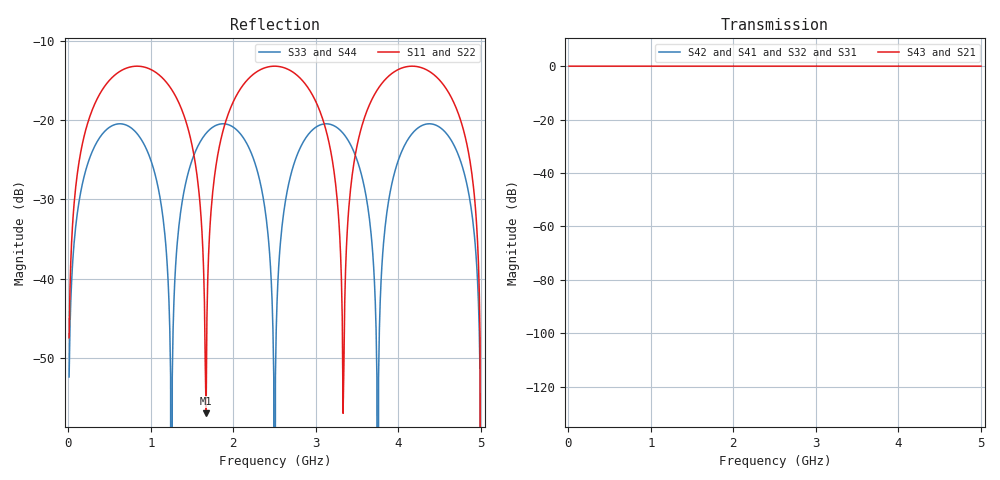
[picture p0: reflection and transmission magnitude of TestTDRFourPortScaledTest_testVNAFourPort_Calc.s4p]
# MHz MA S R 50.0
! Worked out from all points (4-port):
!   500 points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, 10 MHz to 5 GHz, reference 50 ohm
!   strongest paths, dB at 10 MHz, 1.26 GHz, 2.51 GHz, 3.76 GHz, 5 GHz:
!     S43: 0.0, 0.0, 0.0, 0.0, 0.0
!     S21: 0.0, -0.1, -0.2, -0.1, 0.0
!     S42: -, -, -, -, -
!     S41: -, -, -, -, -
!     S32: -, -, -, -, -
!     S31: -, -, -, -, -
!   lowest |S11| = -57.0 dB at 1.67 GHz (marker M1), VSWR 1.00, Z = 50 - j0.141 ohm
!   |S11| at or under -10 dB: start of sweep to end of sweep
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10  0.004241 -91.1  1 -1.1  0 0.0  0 0.0
    1 -1.1  0.004241 -91.1  0 0.0  0 0.0
    0 0.0  0 0.0  0.002399 88.6  1 -1.4
    0 0.0  0 0.0  1 -1.4  0.002399 88.6
1670  0.001414 -90.4  1 179.6  0 0.0  0 0.0
      1 179.6  0.001414 -90.4  0 0.0  0 0.0
      0 0.0  0 0.0  0.08278 29.4  0.9966 119.4
      0 0.0  0 0.0  0.9966 119.4  0.08278 29.4
2500  0.2195 -180.0  0.9756 90.0  0 0.0  0 0.0
      0.9756 90.0  0.2195 -180.0  0 0.0  0 0.0
      0 0.0  0 0.0  0 180.0  1 0.0
      0 0.0  0 0.0  1 0.0  0 180.0
3130  0.08385 112.5  0.9965 22.5  0 0.0  0 0.0
      0.9965 22.5  0.08385 112.5  0 0.0  0 0.0
      0 0.0  0 0.0  0.09502 -0.7  0.9955 -90.7
      0 0.0  0 0.0  0.9955 -90.7  0.09502 -0.7
3750  0.1571 -135.7  0.9876 -45.7  0 0.0  0 0.0
      0.9876 -45.7  0.1571 -135.7  0 0.0  0 0.0
      0 0.0  0 0.0  0 -135.0  1 -180.0
      0 0.0  0 0.0  1 -180.0  0 -135.0
4350  0.2071 160.6  0.9783 -109.4  0 0.0  0 0.0
      0.9783 -109.4  0.2071 160.6  0 0.0  0 0.0
      0 0.0  0 0.0  0.09484 3.6  0.9955 93.6
      0 0.0  0 0.0  0.9955 93.6  0.09484 3.6
5000  0 -180.0  1 -180.0  0 0.0  0 0.0
      1 -180.0  0 -180.0  0 0.0  0 0.0
      0 0.0  0 0.0  0 -100.1  1 0.0
      0 0.0  0 0.0  1 0.0  0 -84.7
